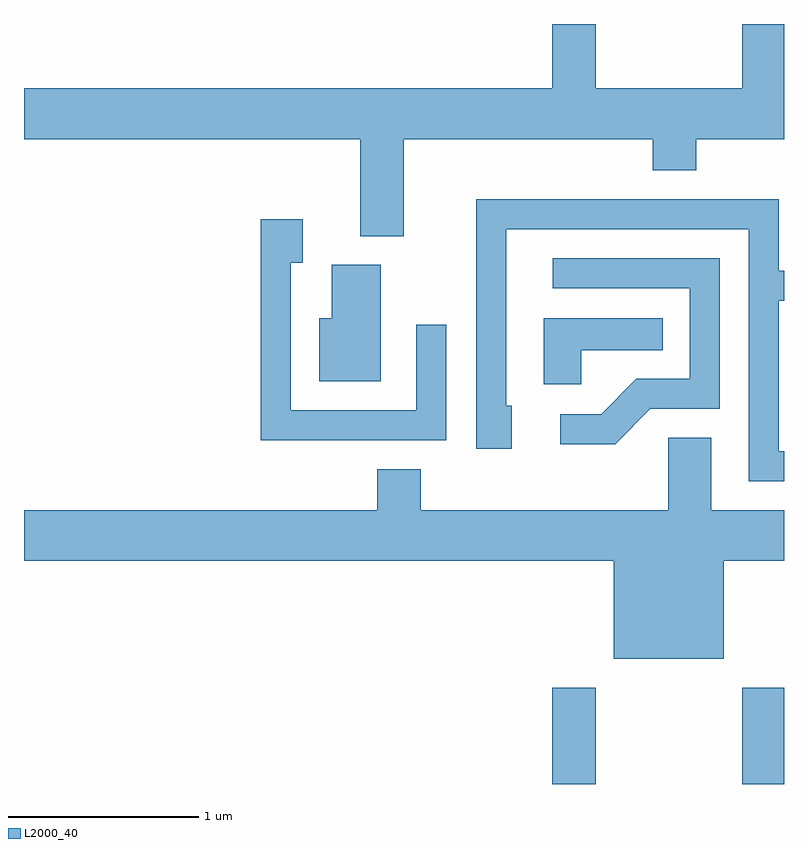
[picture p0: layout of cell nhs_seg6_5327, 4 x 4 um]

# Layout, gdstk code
import gdstk
lib = gdstk.Library(unit=1e-6, precision=1e-09)
def R(c, l, rs):  # rectangles x0, y0, x1, y1
    for r in rs: c.add(gdstk.rectangle(r[:2], r[2:], *l))
def P(c, l, *ps):  # polygons
    for p in ps: c.add(gdstk.Polygon(p, *l))
L2000_40 = (2000, 40)

nhs_seg6_5327 = lib.new_cell('nhs_seg6_5327')
R(nhs_seg6_5327, L2000_40, [(350.391,1582.162,350.619,1582.669), (351.391,1582.162,351.611,1582.669)])
P(nhs_seg6_5327, L2000_40, [(349.609,1585.556),(350.921,1585.556),(350.921,1585.391),(351.149,1585.391),(351.149,1585.556),(351.611,1585.556),(351.611,1586.162),(351.391,1586.162),(351.391,1585.824),(350.619,1585.824),(350.619,1586.162),(350.391,1586.162),(350.391,1585.824),(347.611,1585.824),(347.611,1585.556),(349.381,1585.556),(349.381,1585.046),(349.609,1585.046)],
  [(351.611,1583.914),(351.584,1583.914),(351.584,1584.706),(351.611,1584.706),(351.611,1584.864),(351.584,1584.864),(351.584,1585.239),(349.991,1585.239),(349.991,1583.926),(350.179,1583.926),(350.179,1584.154),(350.149,1584.154),(350.149,1585.081),(351.426,1585.081),(351.426,1583.756),(351.611,1583.756)],
  [(349.834,1584.578),(349.676,1584.578),(349.676,1584.129),(349.014,1584.129),(349.014,1584.906),(349.079,1584.906),(349.079,1585.134),(348.856,1585.134),(348.856,1583.971),(349.834,1583.971)],
  [(350.907,1584.136),(351.274,1584.136),(351.274,1584.929),(350.393,1584.929),(350.393,1584.771),(351.116,1584.771),(351.116,1584.294),(350.834,1584.294),(350.649,1584.109),(350.433,1584.109),(350.433,1583.951),(350.722,1583.951)],
  [(349.489,1584.894),(349.231,1584.894),(349.231,1584.614),(349.166,1584.614),(349.166,1584.281),(349.489,1584.281)],
  [(350.544,1584.446),(350.973,1584.446),(350.973,1584.614),(350.346,1584.614),(350.346,1584.266),(350.544,1584.266)],
  [(351.294,1583.336),(351.611,1583.336),(351.611,1583.604),(351.229,1583.604),(351.229,1583.984),(351.001,1583.984),(351.001,1583.604),(349.699,1583.604),(349.699,1583.819),(349.471,1583.819),(349.471,1583.604),(347.611,1583.604),(347.611,1583.336),(350.716,1583.336),(350.716,1582.821),(351.294,1582.821)])

lib.write_gds('nhs_seg6_5327.gds')
